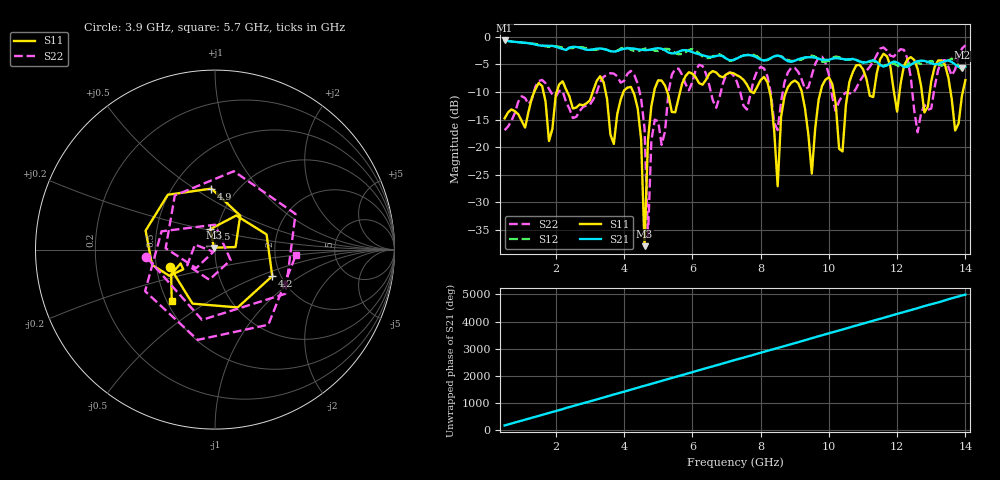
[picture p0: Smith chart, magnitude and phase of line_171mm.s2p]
!Created with skrf (http://scikit-rf.org).
# GHz S RI R 50.0
!freq ReS11 ImS11 ReS21 ImS21 ReS12 ImS12 ReS22 ImS22
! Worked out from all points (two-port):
!   136 points, 500 MHz to 14 GHz, reference 50 ohm
!   highest |S21| = -0.67 dB at 500 MHz (marker M1); lowest = -5.6 dB at 13.9 GHz (marker M2)
!   |S21| within 3 dB of the highest: start of sweep to 6.926 GHz; 7.389 GHz to 7.858 GHz (469.6 MHz wide, 6.16 % of centre)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
!   lowest |S11| = -38.0 dB at 4.6 GHz (marker M3), VSWR 1.03, Z = 49.3 + j1.06 ohm
!   |S11| at or under -10 dB: start of sweep to 1.371 GHz; 2.336 GHz to 3.083 GHz (747 MHz wide, 27.6 % of centre); 4.266 GHz to 4.88 GHz (614.2 MHz wide, 13.4 % of centre)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
!   |S22| runs from -36.3 to -1.5 dB; largest |S21 - S12| = 0.056
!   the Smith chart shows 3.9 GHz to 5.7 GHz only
!   S11 on the Smith chart (normalised r, x): 3.9 GHz: 0.59, -0.12; 4.2 GHz: 1.81, -0.61; 4.5 GHz: 0.93, +0.21; 4.9 GHz: 0.77, +0.59; 5.7 GHz: 0.53, -0.35
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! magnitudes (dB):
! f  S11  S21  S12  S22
! 500 MHz  -14.8  -0.7  -0.7  -16.9
! 2.8 GHz  -12.4  -2.2  -1.9  -12.7
! 3.9 GHz  -11.4  -2.3  -2.1  -8.3
! 4.2 GHz  -9.1  -2.1  -2.3  -6.2
! 4.5 GHz  -18.6  -2.4  -2.4  -11.2
! 4.6 GHz  -38.0  -2.4  -2.2  -16.6
! 4.7 GHz  -18.8  -2.4  -2.1  -36.3
! 4.9 GHz  -9.4  -2.1  -2.5  -15.0
! 5 GHz  -7.9  -2.1  -2.6  -15.3
! 5.7 GHz  -8.5  -2.5  -3.1  -6.9
! 7.3 GHz  -6.9  -3.9  -3.9  -8.1
! 8.2 GHz  -8.2  -4.1  -4.2  -7.2
! 8.5 GHz  -27.1  -3.4  -3.4  -16.9
! 9.1 GHz  -8.4  -4.1  -4.3  -6.3
! 9.5 GHz  -24.8  -3.7  -3.4  -7.0
! 9.9 GHz  -7.8  -4.2  -4.5  -4.7
! 10.4 GHz  -20.8  -4.0  -4.0  -10.7
! 10.8 GHz  -5.2  -4.2  -4.2  -9.4
! 11.8 GHz  -5.3  -4.8  -4.8  -3.4
! 12.6 GHz  -5.8  -4.4  -4.7  -17.3
! 13.9 GHz  -10.6  -5.6  -6.1  -2.1
! 14 GHz  -7.9  -5.4  -6.3  -1.5
